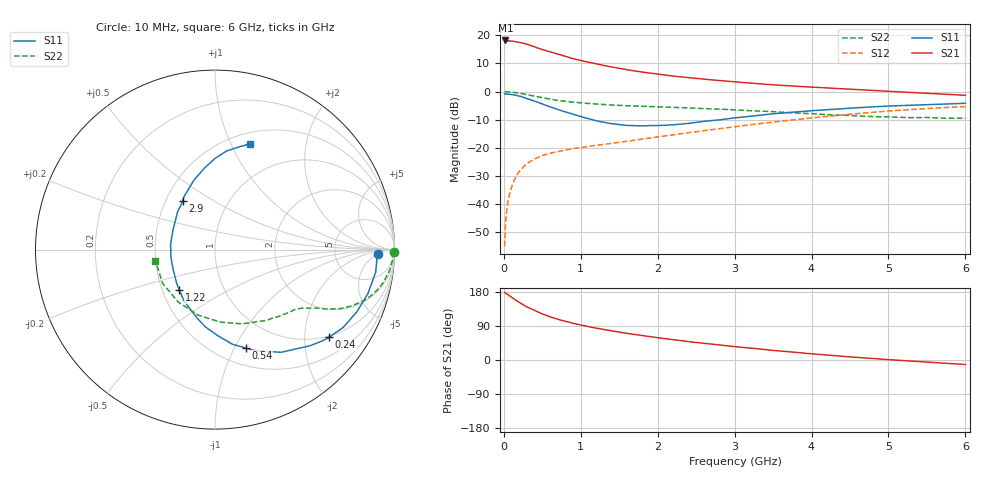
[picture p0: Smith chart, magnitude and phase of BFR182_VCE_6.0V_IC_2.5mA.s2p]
! Infineon Technologies  Discrete & RF Semiconductors
! BFR182
! VCE =  6.0 V,  IC =  2.5 mA
! Common Emitter S-Parameters:  Nov 2015
# GHz  S  MA  R  50
!  f  S11  S21  S12  S22
! GHz  MAG  ANG  MAG  ANG  MAG  ANG  MAG  ANG
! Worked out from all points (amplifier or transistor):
!   210 points, 10 MHz to 6 GHz, reference 50 ohm
!   highest |S21| = 18.1 dB at 20 MHz (marker M1)
!   |S21| within 3 dB of that: start of sweep to 475.1 MHz
!   unconditionally stable (mu >= 1): 1.387 GHz to 3.065 GHz
!   at 185 MHz: K = 0.20, MSG = 23.2 dB, |S12| = -29.0 dB
!   at 1.52 GHz: K = 1.03, MAG = 12.0 dB, |S12| = -17.9 dB
!   at 6 GHz: K = 0.88, MSG = 2.0 dB, |S12| = -5.3 dB
!   S11 on the Smith chart (normalised r, x): 10 MHz: 19, -6; 240 MHz: 0.96, -2.63; 540 MHz: 0.68, -1.11; 1.22 GHz: 0.61, -0.30; 2.9 GHz: 0.61, +0.37; 6 GHz: 0.62, +1.18
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0.01  0.9075 -1.7  8.048 178.6  0.0018 88.0  0.9953 -0.8
0.02  0.9036 -3.2  8.073 176.9  0.0041 88.2  0.9891 -1.5
0.06  0.8994 -9.5  7.948 171.6  0.0124 85.8  0.9877 -4.3
0.1  0.8868 -16.0  7.897 166.2  0.0199 81.5  0.9785 -7.0
0.15  0.8627 -23.8  7.715 158.4  0.0294 75.8  0.9585 -10.6
0.24  0.8018 -37.5  7.279 147.1  0.0438 69.5  0.9159 -15.5
0.3  0.752 -45.5  6.943 140.0  0.0526 66.0  0.8812 -18.6
0.32  0.7353 -47.7  6.786 138.3  0.0548 64.8  0.8702 -19.3
0.4  0.6801 -57.3  6.221 130.8  0.0636 60.9  0.8275 -22.2
0.5  0.6035 -68.7  5.567 121.5  0.0731 57.4  0.779 -24.9
0.54  0.5742 -72.7  5.37 118.6  0.076 56.3  0.7609 -25.6
0.7  0.4807 -88.0  4.649 107.5  0.0861 53.3  0.6969 -28.3
0.8  0.4354 -96.8  4.218 101.7  0.0914 52.5  0.6682 -29.3
1.02  0.3532 -114.5  3.505 91.5  0.1025 51.7  0.6269 -31.4
1.22  0.2993 -131.7  3.064 83.2  0.112 52.3  0.5976 -33.1
1.6  0.2504 -162.8  2.441 70.2  0.1313 54.5  0.56 -36.4
2.02  0.2497 166.5  2.025 58.3  0.1577 56.1  0.5355 -41.4
2.9  0.3267 123.6  1.529 37.5  0.2283 56.0  0.4805 -55.7
3.1  0.3514 117.5  1.45 33.4  0.2474 55.1  0.4646 -59.9
4.1  0.4666 95.9  1.176 14.8  0.3512 47.5  0.3964 -89.1
5.1  0.5592 82.0  0.995 -0.3  0.4613 35.3  0.3509 -129.4
6  0.6189 71.9  0.858 -11.9  0.5411 21.6  0.3378 -169.5
